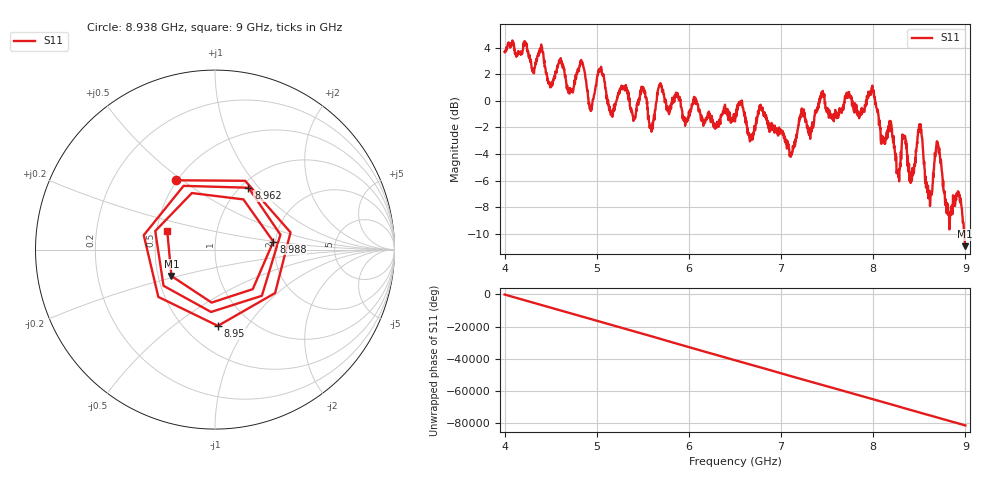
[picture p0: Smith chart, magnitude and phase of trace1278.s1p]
! Created with skrf 1.8.0 (http://scikit-rf.org).
# Hz S RI R 50.0
!freq ReS11 ImS11
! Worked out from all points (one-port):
!   1601 points, 4 GHz to 9 GHz, reference 50 ohm
!   lowest |S11| = -10.9 dB at 8.997 GHz (marker M1), VSWR 1.79, Z = 29.4 - j9.4 ohm
!   |S11| at or under -10 dB: 8.989491 GHz to end of sweep
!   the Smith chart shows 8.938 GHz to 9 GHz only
!   S11 on the Smith chart (normalised r, x): 8.938 GHz: 0.49, +0.47; 8.95 GHz: 0.71, -0.74; 8.962 GHz: 1.08, +0.88; 8.988 GHz: 1.95, +0.19; 9 GHz: 0.57, +0.13
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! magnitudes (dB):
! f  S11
! 4 GHz  3.7
! 4.625 GHz  2.8
! 4.716 GHz  0.8
! 4.841 GHz  2.9
! 4.931 GHz  -0.6
! 5.034 GHz  2.2
! 5.156 GHz  -0.8
! 5.25 GHz  0.6
! 5.591 GHz  -1.9
! 5.681 GHz  1.1
! 5.875 GHz  0.6
! 6.5 GHz  -1.6
! 7.125 GHz  -3.8
! 7.225 GHz  -0.6
! 7.75 GHz  0.2
! 7.991 GHz  1.1
! 8.106 GHz  -2.7
! 8.375 GHz  -4.1
! 8.506 GHz  -2.1
! 8.606 GHz  -6.8
! 8.697 GHz  -3.1
! 8.812 GHz  -8.5
! 8.938 GHz  -7.1
! 8.95 GHz  -7.4
! 8.962 GHz  -8.1
! 8.988 GHz  -9.7
! 8.997 GHz  -10.9
! 9 GHz  -10.9
